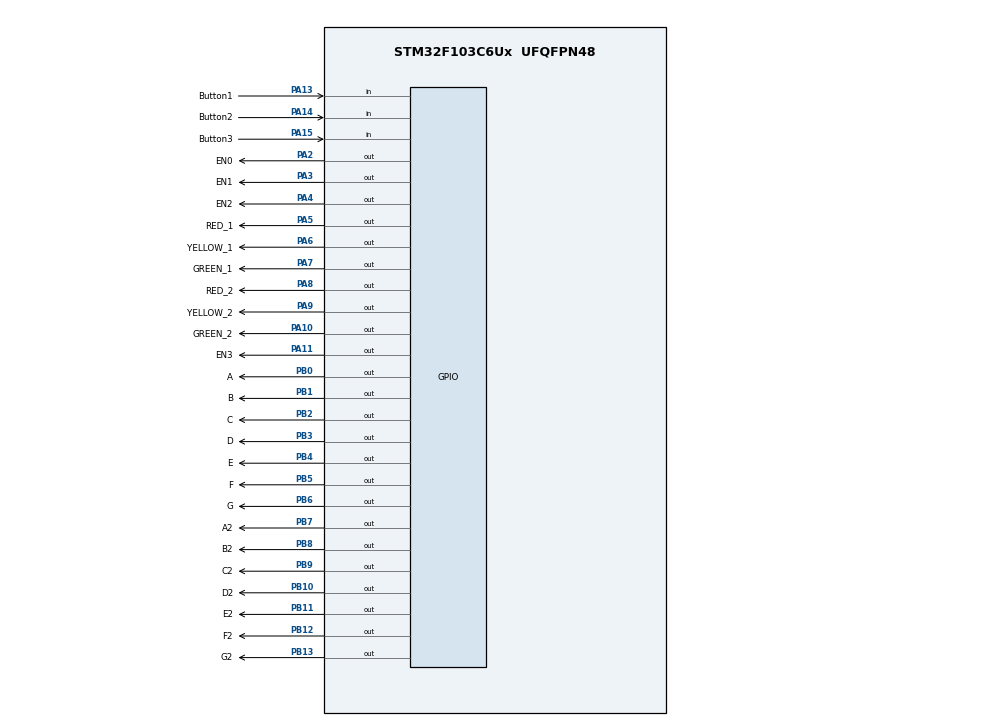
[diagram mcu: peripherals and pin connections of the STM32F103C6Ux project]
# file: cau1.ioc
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Mcu.Family=STM32F1
Mcu.Name=STM32F103C6Ux
Mcu.Package=UFQFPN48
NVIC.PriorityGroup=NVIC_PRIORITYGROUP_4
NVIC.TIM2_IRQn=true\:0\:0\:false\:false\:true\:true\:true\:true
PA10.GPIO_Label=GREEN_2
PA10.Signal=GPIO_Output
PA11.GPIO_Label=EN3
PA11.Signal=GPIO_Output
PA13.GPIO_Label=Button1
PA13.GPIO_PuPd=GPIO_PULLUP
PA13.Signal=GPIO_Input
PA14.GPIO_Label=Button2
PA14.GPIO_PuPd=GPIO_PULLUP
PA14.Signal=GPIO_Input
PA15.GPIO_Label=Button3
PA15.GPIO_PuPd=GPIO_PULLUP
PA15.Signal=GPIO_Input
PA2.GPIO_Label=EN0
PA2.Signal=GPIO_Output
PA3.GPIO_Label=EN1
PA3.Signal=GPIO_Output
PA4.GPIO_Label=EN2
PA4.Signal=GPIO_Output
PA5.GPIO_Label=RED_1
PA5.Signal=GPIO_Output
PA6.GPIO_Label=YELLOW_1
PA6.Signal=GPIO_Output
PA7.GPIO_Label=GREEN_1
PA7.Signal=GPIO_Output
PA8.GPIO_Label=RED_2
PA8.Signal=GPIO_Output
PA9.GPIO_Label=YELLOW_2
PA9.Signal=GPIO_Output
PB0.GPIO_Label=A
PB0.Signal=GPIO_Output
PB1.GPIO_Label=B
PB1.Signal=GPIO_Output
PB10.GPIO_Label=D2
PB10.Signal=GPIO_Output
PB11.GPIO_Label=E2
PB11.Signal=GPIO_Output
PB12.GPIO_Label=F2
PB12.Signal=GPIO_Output
PB13.GPIO_Label=G2
PB13.Signal=GPIO_Output
PB2.GPIO_Label=C
PB2.Signal=GPIO_Output
PB3.GPIO_Label=D
PB3.Signal=GPIO_Output
PB4.GPIO_Label=E
PB4.Signal=GPIO_Output
PB5.GPIO_Label=F
PB5.Signal=GPIO_Output
PB6.GPIO_Label=G
PB6.Signal=GPIO_Output
PB7.GPIO_Label=A2
PB7.Signal=GPIO_Output
PB8.GPIO_Label=B2
PB8.Signal=GPIO_Output
PB9.GPIO_Label=C2
PB9.Signal=GPIO_Output
ProjectManager.HeapSize=0x200
ProjectManager.StackSize=0x400
ProjectManager.TargetToolchain=STM32CubeIDE
RCC.APB1Freq_Value=8000000
RCC.APB2Freq_Value=8000000
TIM2.Period=10
TIM2.Prescaler=7999
VP_TIM2_VS_ClockSourceINT.Mode=Internal
board=custom

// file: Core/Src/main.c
/* USER CODE BEGIN Header */
/**
  ******************************************************************************
  * @file           : main.c
  * @brief          : Main program body
  ******************************************************************************
  * @attention
  *
  * Copyright (c) 2022 STMicroelectronics.
  * All rights reserved.
  *
  * This software is licensed under terms that can be found in the LICENSE file
  * in the root directory of this software component.
  * If no LICENSE file comes with this software, it is provided AS-IS.
  *
  ******************************************************************************
  */
/* USER CODE END Header */
#include "main.h"

/* USER CODE BEGIN Includes */

#include "software_timer.h"
#include "button.h"
#include "fsm_automatic.h"
#include "global.h"
#include "display_seg.h"

/* USER CODE END Includes */

TIM_HandleTypeDef htim2;

void SystemClock_Config(void);
static void MX_GPIO_Init(void);
static void MX_TIM2_Init(void);

int main(void)
{

  /* MCU Configuration--------------------------------------------------------*/

  /* Reset of all peripherals, Initializes the Flash interface and the Systick. */
  HAL_Init();

  /* Configure the system clock */
  SystemClock_Config();

  /* Initialize all configured peripherals */
  MX_GPIO_Init();
  MX_TIM2_Init();
  /* USER CODE BEGIN 2 */
  HAL_TIM_Base_Start_IT(&htim2);
  /* USER CODE END 2 */

  /* Infinite loop */
  /* USER CODE BEGIN WHILE */

  timer5_flag = 1;
  timer6_flag = 1;

  status_1 = INIT_1;
  status_2 = INIT_2;
  while (1)
  {
	  fsm_automatic_1_run();
	  fsm_automatic_2_run();

    /* USER CODE END WHILE */

  }
}

void SystemClock_Config(void)
{
  RCC_OscInitTypeDef RCC_OscInitStruct = {0};
  RCC_ClkInitTypeDef RCC_ClkInitStruct = {0};

  /** Initializes the RCC Oscillators according to the specified parameters
  * in the RCC_OscInitTypeDef structure.
  */
  RCC_OscInitStruct.OscillatorType = RCC_OSCILLATORTYPE_HSI;
  RCC_OscInitStruct.HSIState = RCC_HSI_ON;
  RCC_OscInitStruct.HSICalibrationValue = RCC_HSICALIBRATION_DEFAULT;
  RCC_OscInitStruct.PLL.PLLState = RCC_PLL_NONE;
  if (HAL_RCC_OscConfig(&RCC_OscInitStruct) != HAL_OK)
  {
    Error_Handler();
  }

  /** Initializes the CPU, AHB and APB buses clocks
  */
  RCC_ClkInitStruct.ClockType = RCC_CLOCKTYPE_HCLK|RCC_CLOCKTYPE_SYSCLK
                              |RCC_CLOCKTYPE_PCLK1|RCC_CLOCKTYPE_PCLK2;
  RCC_ClkInitStruct.SYSCLKSource = RCC_SYSCLKSOURCE_HSI;
  RCC_ClkInitStruct.AHBCLKDivider = RCC_SYSCLK_DIV1;
  RCC_ClkInitStruct.APB1CLKDivider = RCC_HCLK_DIV1;
  RCC_ClkInitStruct.APB2CLKDivider = RCC_HCLK_DIV1;

  if (HAL_RCC_ClockConfig(&RCC_ClkInitStruct, FLASH_LATENCY_0) != HAL_OK)
  {
    Error_Handler();
  }
}

static void MX_TIM2_Init(void)
{

  TIM_ClockConfigTypeDef sClockSourceConfig = {0};
  TIM_MasterConfigTypeDef sMasterConfig = {0};

  htim2.Instance = TIM2;
  htim2.Init.Prescaler = 7999;
  htim2.Init.CounterMode = TIM_COUNTERMODE_UP;
  htim2.Init.Period = 10;
  htim2.Init.ClockDivision = TIM_CLOCKDIVISION_DIV1;
  htim2.Init.AutoReloadPreload = TIM_AUTORELOAD_PRELOAD_DISABLE;
  if (HAL_TIM_Base_Init(&htim2) != HAL_OK)
  {
    Error_Handler();
  }
  sClockSourceConfig.ClockSource = TIM_CLOCKSOURCE_INTERNAL;
  if (HAL_TIM_ConfigClockSource(&htim2, &sClockSourceConfig) != HAL_OK)
  {
    Error_Handler();
  }
  sMasterConfig.MasterOutputTrigger = TIM_TRGO_RESET;
  sMasterConfig.MasterSlaveMode = TIM_MASTERSLAVEMODE_DISABLE;
  if (HAL_TIMEx_MasterConfigSynchronization(&htim2, &sMasterConfig) != HAL_OK)
  {
    Error_Handler();
  }

}

static void MX_GPIO_Init(void)
{
  GPIO_InitTypeDef GPIO_InitStruct = {0};

  /* GPIO Ports Clock Enable */
  __HAL_RCC_GPIOA_CLK_ENABLE();
  __HAL_RCC_GPIOB_CLK_ENABLE();

  /*Configure GPIO pin Output Level */
  HAL_GPIO_WritePin(GPIOA, EN0_Pin|EN1_Pin|EN2_Pin|RED_1_Pin
                          |YELLOW_1_Pin|GREEN_1_Pin|RED_2_Pin|YELLOW_2_Pin
                          |GREEN_2_Pin|EN3_Pin, GPIO_PIN_RESET);

  /*Configure GPIO pin Output Level */
  HAL_GPIO_WritePin(GPIOB, A_Pin|B_Pin|C_Pin|D2_Pin
                          |E2_Pin|F2_Pin|G2_Pin|D_Pin
                          |E_Pin|F_Pin|G_Pin|A2_Pin
                          |B2_Pin|C2_Pin, GPIO_PIN_RESET);

  /*Configure GPIO pins : EN0_Pin EN1_Pin EN2_Pin RED_1_Pin
                           YELLOW_1_Pin GREEN_1_Pin RED_2_Pin YELLOW_2_Pin
                           GREEN_2_Pin EN3_Pin */
  GPIO_InitStruct.Pin = EN0_Pin|EN1_Pin|EN2_Pin|RED_1_Pin
                          |YELLOW_1_Pin|GREEN_1_Pin|RED_2_Pin|YELLOW_2_Pin
                          |GREEN_2_Pin|EN3_Pin;
  GPIO_InitStruct.Mode = GPIO_MODE_OUTPUT_PP;
  GPIO_InitStruct.Pull = GPIO_NOPULL;
  GPIO_InitStruct.Speed = GPIO_SPEED_FREQ_LOW;
  HAL_GPIO_Init(GPIOA, &GPIO_InitStruct);

  /*Configure GPIO pins : A_Pin B_Pin C_Pin D2_Pin
                           E2_Pin F2_Pin G2_Pin D_Pin
                           E_Pin F_Pin G_Pin A2_Pin
                           B2_Pin C2_Pin */
  GPIO_InitStruct.Pin = A_Pin|B_Pin|C_Pin|D2_Pin
                          |E2_Pin|F2_Pin|G2_Pin|D_Pin
                          |E_Pin|F_Pin|G_Pin|A2_Pin
                          |B2_Pin|C2_Pin;
  GPIO_InitStruct.Mode = GPIO_MODE_OUTPUT_PP;
  GPIO_InitStruct.Pull = GPIO_NOPULL;
  GPIO_InitStruct.Speed = GPIO_SPEED_FREQ_LOW;
  HAL_GPIO_Init(GPIOB, &GPIO_InitStruct);

  /*Configure GPIO pins : Button1_Pin Button2_Pin Button3_Pin */
  GPIO_InitStruct.Pin = Button1_Pin|Button2_Pin|Button3_Pin;
  GPIO_InitStruct.Mode = GPIO_MODE_INPUT;
  GPIO_InitStruct.Pull = GPIO_PULLUP;
  HAL_GPIO_Init(GPIOA, &GPIO_InitStruct);

}

/* USER CODE BEGIN 4 */

void HAL_TIM_PeriodElapsedCallback(TIM_HandleTypeDef *htim)
{
	timeRun();
	getKeyInput();
}

/* USER CODE END 4 */

void Error_Handler(void)
{
  __disable_irq();
  while (1)
  {
  }
}
